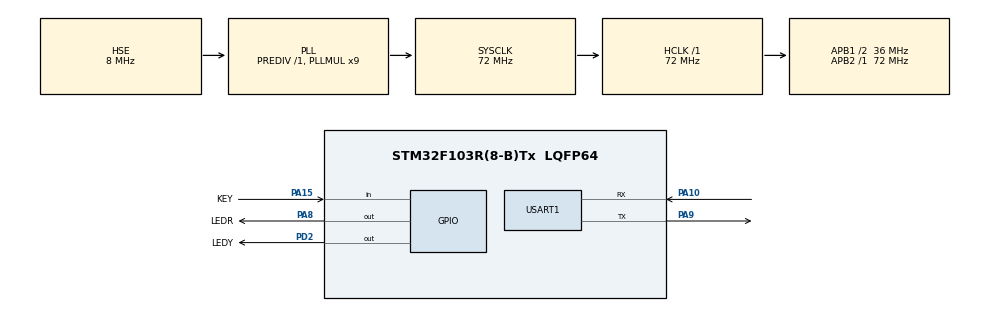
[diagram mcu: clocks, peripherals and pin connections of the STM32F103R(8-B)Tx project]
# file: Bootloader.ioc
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Mcu.Family=STM32F1
Mcu.Name=STM32F103R(8-B)Tx
Mcu.Package=LQFP64
NVIC.PriorityGroup=NVIC_PRIORITYGROUP_2
PA10.Mode=Asynchronous
PA10.Signal=USART1_RX
PA13.Mode=Serial_Wire
PA13.Signal=SYS_JTMS-SWDIO
PA14.Mode=Serial_Wire
PA14.Signal=SYS_JTCK-SWCLK
PA15.GPIO_Label=KEY
PA15.GPIO_PuPd=GPIO_PULLUP
PA15.Signal=GPIO_Input
PA8.GPIO_Label=LEDR
PA8.GPIO_PuPd=GPIO_PULLUP
PA8.GPIO_Speed=GPIO_SPEED_FREQ_HIGH
PA8.PinState=GPIO_PIN_SET
PA8.Signal=GPIO_Output
PA9.Mode=Asynchronous
PA9.Signal=USART1_TX
PD0-OSC_IN.Mode=HSE-External-Oscillator
PD0-OSC_IN.Signal=RCC_OSC_IN
PD1-OSC_OUT.Mode=HSE-External-Oscillator
PD1-OSC_OUT.Signal=RCC_OSC_OUT
PD2.GPIO_Label=LEDY
PD2.GPIO_PuPd=GPIO_PULLUP
PD2.GPIO_Speed=GPIO_SPEED_FREQ_HIGH
PD2.PinState=GPIO_PIN_SET
PD2.Signal=GPIO_Output
ProjectManager.HeapSize=0x200
ProjectManager.StackSize=0x400
ProjectManager.TargetToolchain=MDK-ARM V4
RCC.AHBFreq_Value=72000000
RCC.APB1CLKDivider=RCC_HCLK_DIV2
RCC.APB1Freq_Value=36000000
RCC.APB1TimFreq_Value=72000000
RCC.APB2Freq_Value=72000000
RCC.APB2TimFreq_Value=72000000
RCC.HCLKFreq_Value=72000000
RCC.PLLMUL=RCC_PLL_MUL9
RCC.PLLSourceVirtual=RCC_PLLSOURCE_HSE
RCC.SYSCLKFreq_VALUE=72000000
RCC.SYSCLKSource=RCC_SYSCLKSOURCE_PLLCLK
RCC.USBFreq_Value=72000000
USART1.VirtualMode=VM_ASYNC
board=custom

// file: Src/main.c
/* USER CODE BEGIN Header */
/**
  ******************************************************************************
  * @file           : main.c
  * @brief          : Main program body
  ******************************************************************************
  * @attention
  *
  * <h2><center>&copy; Copyright (c) 2020 STMicroelectronics.
  * All rights reserved.</center></h2>
  *
  * This software component is licensed by ST under BSD 3-Clause license,
  * the "License"; You may not use this file except in compliance with the
  * License. You may obtain a copy of the License at:
  *                        opensource.org/licenses/BSD-3-Clause
  *
  ******************************************************************************
  */
/* USER CODE END Header */

#include "main.h"
#include "usart.h"
#include "gpio.h"

/* USER CODE BEGIN Includes */
#include "menu.h"
/* USER CODE END Includes */

void SystemClock_Config(void);

/* USER CODE BEGIN 0 */

extern pFunction JumpToApplication;
extern uint32_t JumpAddress;

int main(void)
{
    HAL_Init();
    SystemClock_Config();
    MX_GPIO_Init();
    MX_USART1_UART_Init();
    FLASH_Init();

    env_load();

    if(HAL_GPIO_ReadPin(KEY_GPIO_Port, KEY_Pin) == GPIO_PIN_RESET)
    {
        Main_Menu ();
    }
    else
    {
        /* Test if user code is programmed starting from address "APPLICATION_ADDRESS" */
        if (((*(__IO uint32_t*)APPLICATION_ADDRESS) & 0x2FFE0000 ) == 0x20000000)
        {
            /* Jump to user application */
            JumpAddress = *(__IO uint32_t*) (APPLICATION_ADDRESS + 4);
            JumpToApplication = (pFunction) JumpAddress;
            /* Initialize user application's Stack Pointer */
            __set_MSP(*(__IO uint32_t*) APPLICATION_ADDRESS);
            JumpToApplication();
        }
    }

    while (1)
    {
        HAL_GPIO_TogglePin(LEDR_GPIO_Port, LEDR_Pin);
        HAL_GPIO_TogglePin(LEDY_GPIO_Port, LEDY_Pin);
        HAL_Delay(100);
    }
}
/* USER CODE END 0 */

void SystemClock_Config(void)
{
    RCC_OscInitTypeDef RCC_OscInitStruct = {0};
    RCC_ClkInitTypeDef RCC_ClkInitStruct = {0};

    /** Initializes the CPU, AHB and APB busses clocks
    */
    RCC_OscInitStruct.OscillatorType = RCC_OSCILLATORTYPE_HSE;
    RCC_OscInitStruct.HSEState = RCC_HSE_ON;
    RCC_OscInitStruct.HSEPredivValue = RCC_HSE_PREDIV_DIV1;
    RCC_OscInitStruct.HSIState = RCC_HSI_ON;
    RCC_OscInitStruct.PLL.PLLState = RCC_PLL_ON;
    RCC_OscInitStruct.PLL.PLLSource = RCC_PLLSOURCE_HSE;
    RCC_OscInitStruct.PLL.PLLMUL = RCC_PLL_MUL9;
    if (HAL_RCC_OscConfig(&RCC_OscInitStruct) != HAL_OK)
    {
        Error_Handler();
    }
    /** Initializes the CPU, AHB and APB busses clocks
    */
    RCC_ClkInitStruct.ClockType = RCC_CLOCKTYPE_HCLK|RCC_CLOCKTYPE_SYSCLK
                                  |RCC_CLOCKTYPE_PCLK1|RCC_CLOCKTYPE_PCLK2;
    RCC_ClkInitStruct.SYSCLKSource = RCC_SYSCLKSOURCE_PLLCLK;
    RCC_ClkInitStruct.AHBCLKDivider = RCC_SYSCLK_DIV1;
    RCC_ClkInitStruct.APB1CLKDivider = RCC_HCLK_DIV2;
    RCC_ClkInitStruct.APB2CLKDivider = RCC_HCLK_DIV1;

    if (HAL_RCC_ClockConfig(&RCC_ClkInitStruct, FLASH_LATENCY_2) != HAL_OK)
    {
        Error_Handler();
    }
}

void Error_Handler(void)
{
}

/************************ (C) COPYRIGHT STMicroelectronics *****END OF FILE****/
